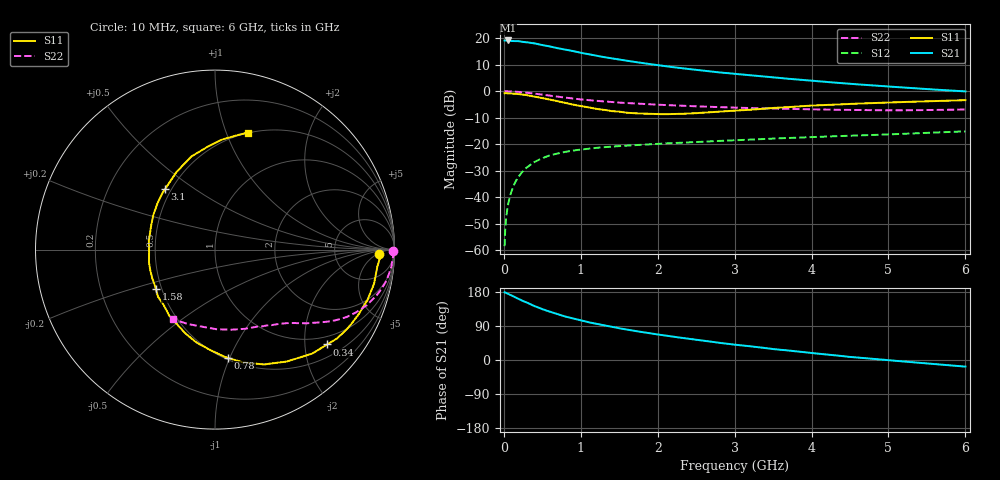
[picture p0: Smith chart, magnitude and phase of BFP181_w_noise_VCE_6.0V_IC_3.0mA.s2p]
! Infineon Technologies  Discrete & RF Semiconductors
! BFP181
! VCE = 6.0 V,  IC =  3.0 mA
! Common Emitter S-Parameters:  Jan 2016
# GHz  S  MA  R  50
!  f  S11  S21  S12  S22
! GHz  MAG  ANG  MAG  ANG  MAG  ANG  MAG  ANG
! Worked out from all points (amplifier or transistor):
!   210 points, 10 MHz to 6 GHz, reference 50 ohm
!   highest |S21| = 19.1 dB at 50 MHz (marker M1)
!   |S21| within 3 dB of that: start of sweep to 714.8 MHz
!   unconditionally stable (mu >= 1): 2.197 GHz to end of sweep
!   at 185 MHz: K = 0.12, MSG = 25.7 dB, |S12| = -32.5 dB
!   at 1.52 GHz: K = 0.78, MSG = 16.3 dB, |S12| = -20.7 dB
!   at 6 GHz: K = 1.10, MAG = 5.6 dB, |S12| = -15.1 dB
!   lowest NFmin = 1.40 dB at 450 MHz
!   S11 on the Smith chart (normalised r, x): 10 MHz: 21, -6; 340 MHz: 0.79, -2.52; 780 MHz: 0.52, -0.99; 1.58 GHz: 0.46, -0.24; 3.1 GHz: 0.46, +0.39; 6 GHz: 0.50, +1.19
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0.01  0.9141 -1.4  8.975 178.8  0.0012 92.6  0.9937 -0.5
0.02  0.922 -2.5  9.022 178.2  0.0028 90.0  0.996 -1.1
0.05  0.9094 -6.0  9.029 174.8  0.0066 86.5  0.9911 -2.8
0.11  0.903 -13.5  8.816 169.1  0.0143 80.2  0.985 -6.1
0.2  0.8773 -24.4  8.742 160.2  0.0254 75.8  0.9665 -11.0
0.34  0.8183 -40.2  8.161 147.8  0.0405 66.7  0.9208 -17.5
0.4  0.7927 -47.0  7.954 142.1  0.0464 63.6  0.9001 -20.2
0.5  0.7403 -57.4  7.399 134.2  0.0545 58.2  0.8601 -24.0
0.6  0.6961 -66.8  6.959 127.3  0.062 54.0  0.8243 -27.1
0.7  0.6474 -76.1  6.449 120.7  0.0669 50.3  0.7882 -29.7
0.78  0.6076 -83.1  6.159 115.9  0.0709 47.5  0.7624 -31.4
0.9  0.5579 -93.2  5.699 109.3  0.0762 43.9  0.7243 -33.9
1.02  0.5198 -103.0  5.225 103.5  0.08 41.6  0.694 -35.9
1.1  0.4943 -109.7  4.991 99.6  0.0827 39.8  0.6757 -37.1
1.3  0.4475 -124.8  4.388 91.4  0.0877 36.6  0.6398 -39.9
1.58  0.3959 -146.1  3.787 80.9  0.0937 33.6  0.5999 -43.0
2.02  0.3678 -176.6  3.06 66.8  0.1022 30.4  0.5542 -48.1
2.42  0.38 159.5  2.601 55.6  0.109 28.1  0.5253 -53.3
3.1  0.4372 129.5  2.056 38.5  0.1204 25.2  0.4851 -62.9
4.1  0.542 102.0  1.533 16.4  0.1382 20.5  0.4517 -80.7
5.1  0.6196 85.0  1.197 -2.3  0.1552 16.6  0.4355 -101.5
6  0.6769 74.3  0.99 -17.5  0.1748 12.2  0.4525 -121.0
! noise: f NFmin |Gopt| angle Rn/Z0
0.45  1.4  0.56  17  0.36
0.9  1.5  0.45  35  0.34
1.8  1.85  0.25  82  0.36
